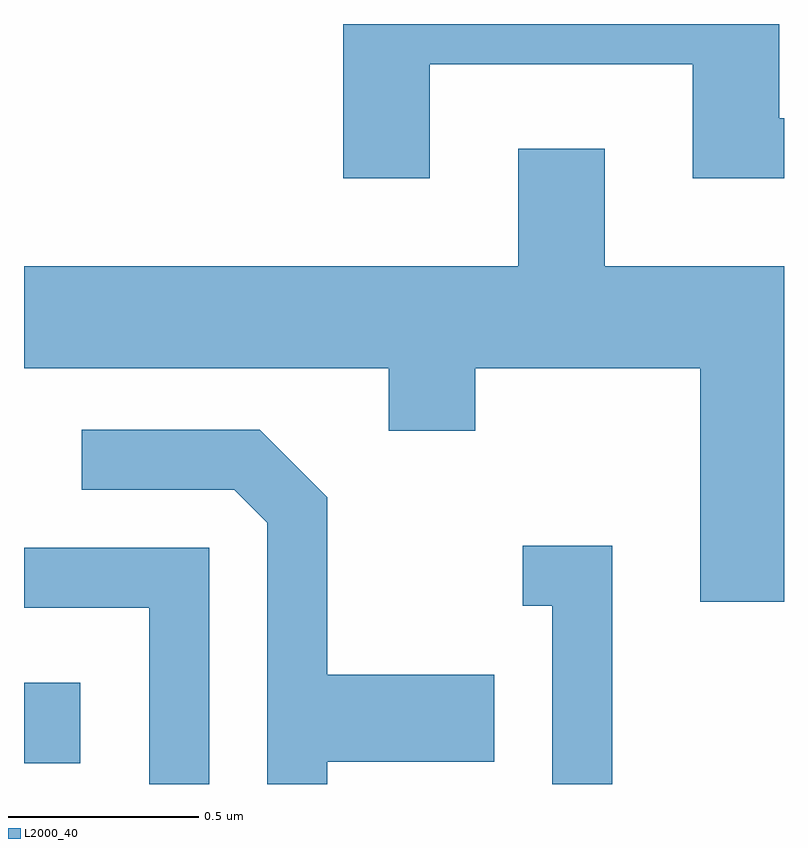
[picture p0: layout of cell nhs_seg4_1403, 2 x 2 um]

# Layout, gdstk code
import gdstk
lib = gdstk.Library(unit=1e-6, precision=1e-09)
def R(c, l, rs):  # rectangles x0, y0, x1, y1
    for r in rs: c.add(gdstk.rectangle(r[:2], r[2:], *l))
def P(c, l, *ps):  # polygons
    for p in ps: c.add(gdstk.Polygon(p, *l))
L2000_40 = (2000, 40)

nhs_seg4_1403 = lib.new_cell('nhs_seg4_1403')
R(nhs_seg4_1403, L2000_40, [(195.611,1287.036,195.759,1287.249)])
P(nhs_seg4_1403, L2000_40, [(196.679,1288.876),(197.371,1288.876),(197.371,1288.576),(197.611,1288.576),(197.611,1288.734),(197.599,1288.734),(197.599,1288.982),(196.451,1288.982),(196.451,1288.576),(196.679,1288.576)],
  [(197.611,1288.344),(197.139,1288.344),(197.139,1288.654),(196.911,1288.654),(196.911,1288.344),(195.611,1288.344),(195.611,1288.076),(196.571,1288.076),(196.571,1287.911),(196.799,1287.911),(196.799,1288.076),(197.391,1288.076),(197.391,1287.461),(197.611,1287.461)],
  [(196.409,1287.041),(196.849,1287.041),(196.849,1287.269),(196.409,1287.269),(196.409,1287.737),(196.232,1287.914),(195.763,1287.914),(195.763,1287.756),(196.164,1287.756),(196.251,1287.669),(196.251,1286.982),(196.409,1286.982)],
  [(197.159,1287.609),(196.923,1287.609),(196.923,1287.451),(197.001,1287.451),(197.001,1286.982),(197.159,1286.982)],
  [(196.099,1287.604),(195.611,1287.604),(195.611,1287.446),(195.941,1287.446),(195.941,1286.982),(196.099,1286.982)])

lib.write_gds('nhs_seg4_1403.gds')
